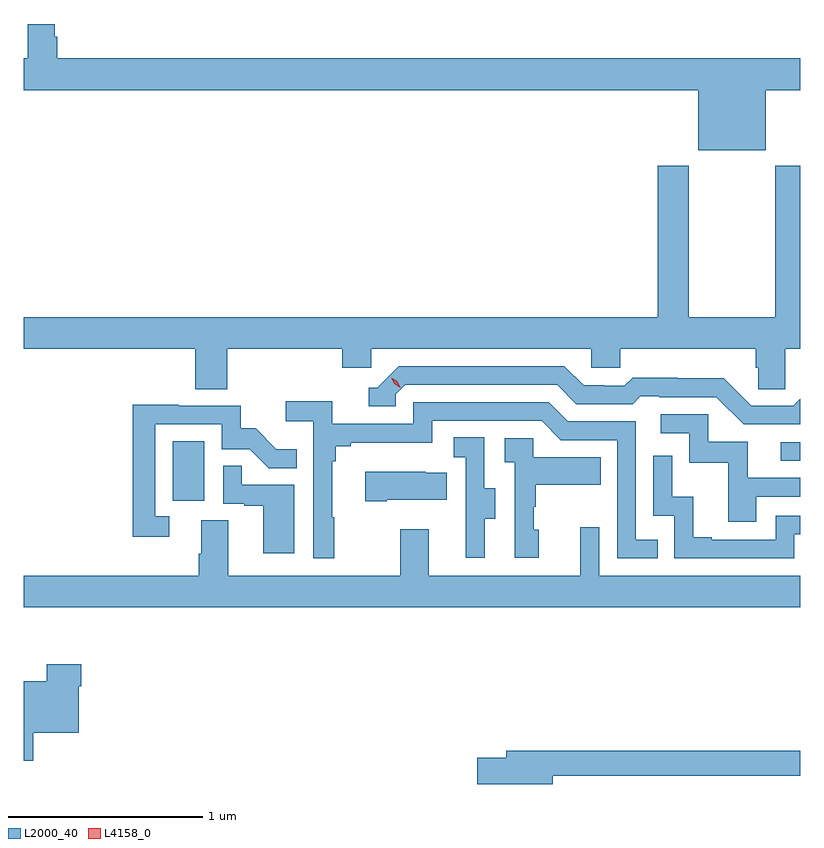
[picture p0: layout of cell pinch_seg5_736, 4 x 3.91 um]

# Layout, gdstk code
import gdstk
lib = gdstk.Library(unit=1e-6, precision=1e-09)
def R(c, l, rs):  # rectangles x0, y0, x1, y1
    for r in rs: c.add(gdstk.rectangle(r[:2], r[2:], *l))
def P(c, l, *ps):  # polygons
    for p in ps: c.add(gdstk.Polygon(p, *l))
L2000_40 = (2000, 40)
L4158_0 = (4158, 0)

pinch_seg5_736 = lib.new_cell('pinch_seg5_736')
R(pinch_seg5_736, L2000_40, [(862.178,907.926,862.342,908.233), (865.311,908.133,865.411,908.226)])
P(pinch_seg5_736, L2000_40, [(865.234,910.04),(865.411,910.04),(865.411,910.204),(861.584,910.204),(861.584,910.316),(861.571,910.316),(861.571,910.381),(861.431,910.381),(861.431,910.204),(861.411,910.204),(861.411,910.04),(864.884,910.04),(864.884,909.731),(865.234,909.731)],
  [(862.46,908.708),(863.051,908.708),(863.051,908.61),(863.202,908.61),(863.202,908.708),(864.333,908.708),(864.333,908.61),(864.483,908.61),(864.483,908.708),(865.181,908.708),(865.181,908.61),(865.195,908.61),(865.195,908.5),(865.332,908.5),(865.332,908.708),(865.411,908.708),(865.411,909.652),(865.282,909.652),(865.282,908.872),(864.837,908.872),(864.837,909.652),(864.677,909.652),(864.677,908.872),(861.411,908.872),(861.411,908.708),(862.295,908.708),(862.295,908.5),(862.46,908.5)],
  [(865.411,908.452),(865.374,908.415),(865.158,908.415),(865.016,908.557),(864.78,908.557),(864.78,908.56),(864.547,908.56),(864.505,908.517),(864.402,908.517),(864.402,908.52),(864.295,908.52),(864.196,908.619),(863.343,908.619),(863.232,908.508),(863.189,908.508),(863.189,908.412),(863.328,908.412),(863.328,908.475),(863.376,908.523),(864.159,908.523),(864.258,908.424),(864.547,908.424),(864.586,908.463),(864.685,908.463),(864.685,908.46),(864.978,908.46),(865.119,908.319),(865.411,908.319)],
  [(863.011,907.841),(862.999,907.841),(862.999,908.129),(863.018,908.129),(863.018,908.206),(863.095,908.206),(863.095,908.225),(863.514,908.225),(863.514,908.337),(864.078,908.337),(864.177,908.238),(864.468,908.238),(864.468,907.629),(864.677,907.629),(864.677,907.725),(864.564,907.725),(864.564,908.334),(864.214,908.334),(864.115,908.433),(863.418,908.433),(863.418,908.322),(863,908.322),(863,908.438),(862.761,908.438),(862.761,908.336),(862.902,908.336),(862.902,907.629),(863.011,907.629)],
  [(862.162,907.845),(862.089,907.845),(862.089,908.319),(862.431,908.319),(862.431,908.19),(862.575,908.19),(862.673,908.092),(862.817,908.092),(862.817,908.191),(862.713,908.191),(862.606,908.298),(862.53,908.298),(862.53,908.415),(862.211,908.415),(862.211,908.42),(861.973,908.42),(861.973,907.74),(862.162,907.74)],
  [(865.183,907.947),(865.411,907.947),(865.411,908.043),(865.141,908.043),(865.141,908.229),(864.936,908.229),(864.936,908.37),(864.693,908.37),(864.693,908.274),(864.84,908.274),(864.84,908.121),(865.039,908.121),(865.039,907.818),(865.183,907.818)],
  [(863.785,907.834),(863.839,907.834),(863.839,907.989),(863.784,907.989),(863.784,908.252),(863.625,908.252),(863.625,908.149),(863.688,908.149),(863.688,907.845),(863.687,907.845),(863.687,907.632),(863.785,907.632)],
  [(864.064,907.776),(864.039,907.776),(864.039,907.895),(864.049,907.895),(864.049,908.009),(864.383,908.009),(864.383,908.149),(864.036,908.149),(864.036,908.247),(863.889,908.247),(863.889,908.123),(863.94,908.123),(863.94,907.632),(864.064,907.632)],
  [(865.38,907.752),(865.411,907.752),(865.411,907.848),(865.284,907.848),(865.284,907.725),(864.955,907.725),(864.955,907.738),(864.86,907.738),(864.86,907.946),(864.75,907.946),(864.75,908.158),(864.654,908.158),(864.654,907.848),(864.762,907.848),(864.762,907.629),(865.38,907.629)],
  [(862.804,908.007),(862.535,908.007),(862.535,908.105),(862.44,908.105),(862.44,907.911),(862.547,907.911),(862.547,907.899),(862.646,907.899),(862.646,907.656),(862.804,907.656)],
  [(863.281,907.931),(863.591,907.931),(863.591,908.071),(863.483,908.071),(863.483,908.074),(863.169,908.074),(863.169,907.924),(863.281,907.924)],
  [(865.411,907.54),(864.375,907.54),(864.375,907.789),(864.278,907.789),(864.278,907.54),(863.497,907.54),(863.497,907.78),(863.35,907.78),(863.35,907.54),(862.465,907.54),(862.465,907.826),(862.325,907.826),(862.325,907.652),(862.313,907.652),(862.313,907.54),(861.411,907.54),(861.411,907.376),(865.411,907.376)],
  [(861.46,906.731),(861.694,906.731),(861.694,906.971),(861.707,906.971),(861.707,907.084),(861.529,907.084),(861.529,906.997),(861.411,906.997),(861.411,906.587),(861.46,906.587)],
  [(864.136,906.51),(865.411,906.51),(865.411,906.638),(863.897,906.638),(863.897,906.602),(863.748,906.602),(863.748,906.467),(864.136,906.467)])
P(pinch_seg5_736, L4158_0, [(863.351,908.508),(863.32,908.528),(863.304,908.56),(863.304,908.56),(863.304,908.56),(863.335,908.541),(863.351,908.509),(863.351,908.508)])

lib.write_gds('pinch_seg5_736.gds')
